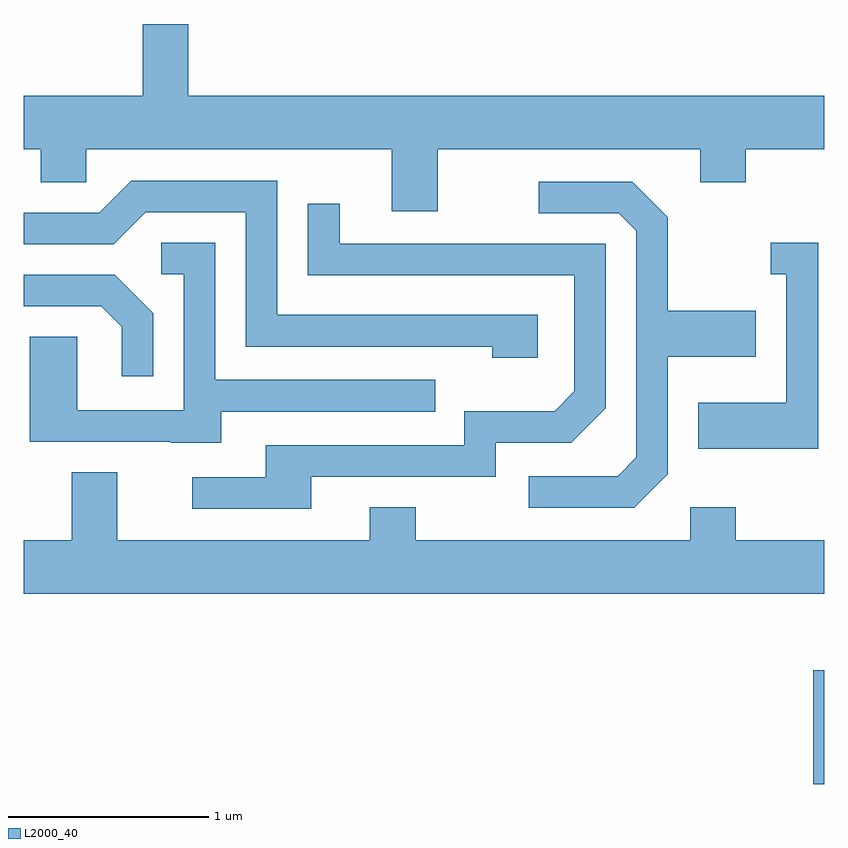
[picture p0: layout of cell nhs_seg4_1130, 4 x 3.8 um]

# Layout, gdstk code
import gdstk
lib = gdstk.Library(unit=1e-6, precision=1e-09)
def R(c, l, rs):  # rectangles x0, y0, x1, y1
    for r in rs: c.add(gdstk.rectangle(r[:2], r[2:], *l))
def P(c, l, *ps):  # polygons
    for p in ps: c.add(gdstk.Polygon(p, *l))
L2000_40 = (2000, 40)

nhs_seg4_1130 = lib.new_cell('nhs_seg4_1130')
R(nhs_seg4_1130, L2000_40, [(221.556,1338.186,221.611,1338.754)])
P(nhs_seg4_1130, L2000_40, [(219.679,1341.356),(220.991,1341.356),(220.991,1341.191),(221.219,1341.191),(221.219,1341.356),(221.611,1341.356),(221.611,1341.624),(218.434,1341.624),(218.434,1341.982),(218.206,1341.982),(218.206,1341.624),(217.611,1341.624),(217.611,1341.356),(217.696,1341.356),(217.696,1341.191),(217.924,1341.191),(217.924,1341.356),(219.451,1341.356),(219.451,1341.046),(219.679,1341.046)],
  [(220.179,1340.529),(218.879,1340.529),(218.879,1341.199),(218.149,1341.199),(217.989,1341.039),(217.611,1341.039),(217.611,1340.881),(218.062,1340.881),(218.222,1341.041),(218.721,1341.041),(218.721,1340.371),(219.951,1340.371),(219.951,1340.316),(220.179,1340.316)],
  [(220.829,1339.734),(220.829,1340.321),(221.269,1340.321),(221.269,1340.549),(220.829,1340.549),(220.829,1341.017),(220.652,1341.194),(220.183,1341.194),(220.183,1341.036),(220.584,1341.036),(220.671,1340.949),(220.671,1339.817),(220.579,1339.724),(220.133,1339.724),(220.133,1339.566),(220.662,1339.566)],
  [(219.049,1339.721),(219.969,1339.721),(219.969,1339.891),(220.347,1339.891),(220.519,1340.064),(220.519,1340.884),(219.189,1340.884),(219.189,1341.083),(219.031,1341.083),(219.031,1340.726),(220.361,1340.726),(220.361,1340.147),(220.264,1340.049),(219.811,1340.049),(219.811,1339.879),(218.821,1339.879),(218.821,1339.719),(218.453,1339.719),(218.453,1339.561),(219.049,1339.561)],
  [(221.579,1340.889),(221.343,1340.889),(221.343,1340.731),(221.421,1340.731),(221.421,1340.089),(220.981,1340.089),(220.981,1339.861),(221.579,1339.861)],
  [(218.599,1340.046),(219.668,1340.046),(219.668,1340.204),(218.569,1340.204),(218.569,1340.889),(218.298,1340.889),(218.298,1340.731),(218.411,1340.731),(218.411,1340.054),(217.879,1340.054),(217.879,1340.419),(217.641,1340.419),(217.641,1339.896),(218.345,1339.896),(218.345,1339.891),(218.599,1339.891)],
  [(218.259,1340.537),(218.067,1340.729),(217.611,1340.729),(217.611,1340.571),(217.999,1340.571),(218.101,1340.469),(218.101,1340.223),(218.259,1340.223)],
  [(221.611,1339.404),(221.169,1339.404),(221.169,1339.569),(220.941,1339.569),(220.941,1339.404),(219.569,1339.404),(219.569,1339.569),(219.341,1339.569),(219.341,1339.404),(218.079,1339.404),(218.079,1339.744),(217.851,1339.744),(217.851,1339.404),(217.611,1339.404),(217.611,1339.136),(221.611,1339.136)])

lib.write_gds('nhs_seg4_1130.gds')
